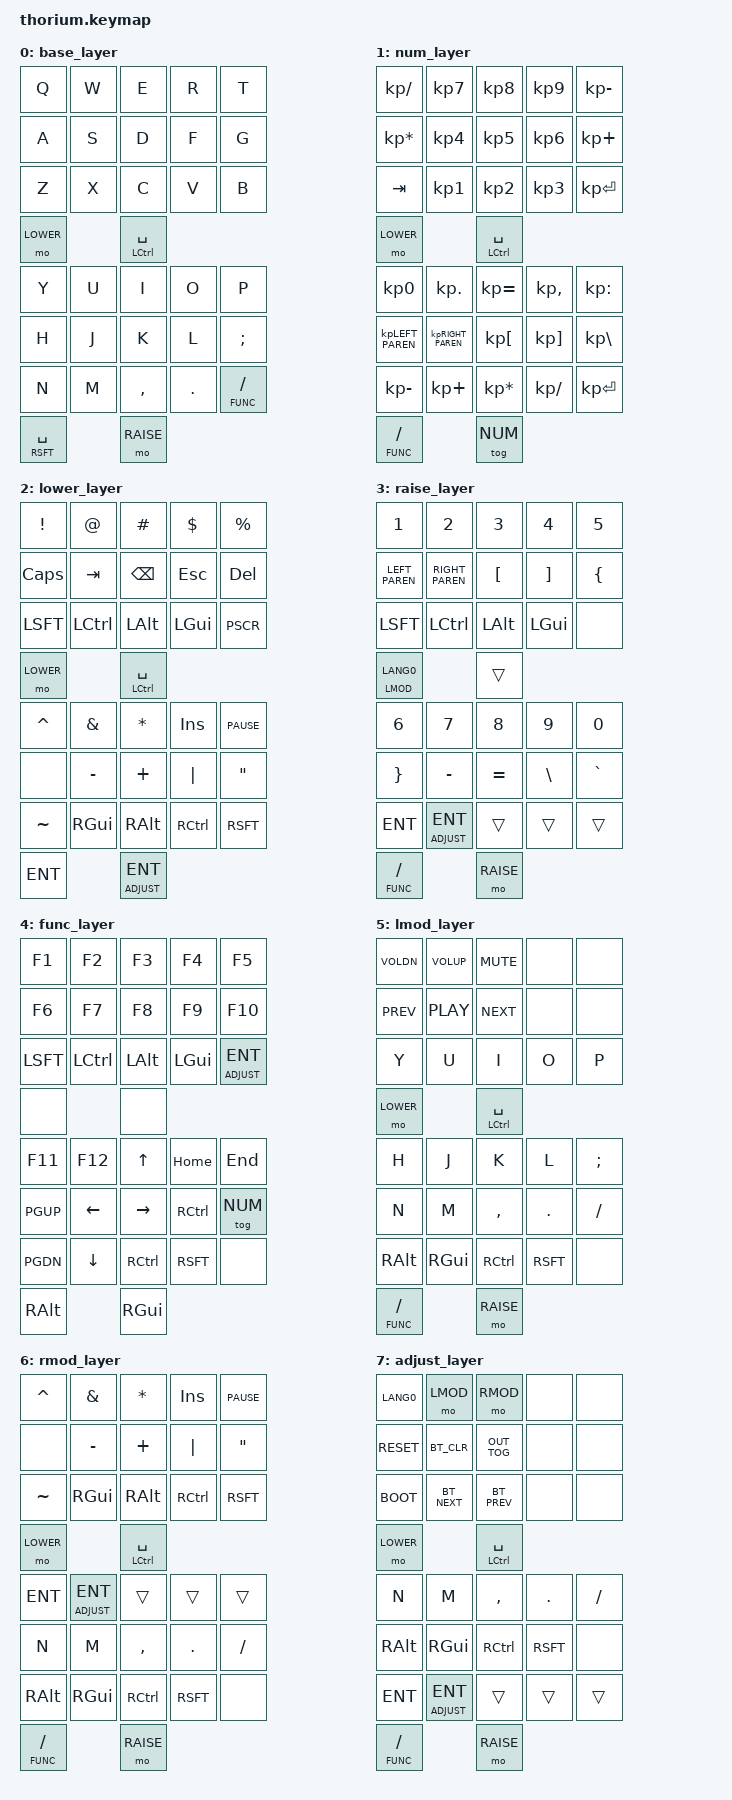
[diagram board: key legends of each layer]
/ {
    keymap {
        compatible = "zmk,keymap";

        base_layer {
            bindings = <
                // 左手
                &kp Q &kp W &kp E &kp R &kp T
                &kp A &kp S &kp D &kp F &kp G
                &kp Z &kp X &kp C &kp V &kp B
                &mo LOWER &mt LCTL SPC

                // 右手
                &kp Y &kp U &kp I &kp O &kp P
                &kp H &kp J &kp K &kp L &kp SEMI
                &kp N &kp M &kp COMMA &kp DOT &mt FUNC SLASH
                &mt RSFT SPC &mo RAISE
            >;
        };

        num_layer {
            bindings = <
                // 左手
                &kp KP_SLASH &kp KP_7 &kp KP_8 &kp KP_9 &kp KP_MINUS
                &kp KP_ASTERISK &kp KP_4 &kp KP_5 &kp KP_6 &kp KP_PLUS
                &kp TAB &kp KP_1 &kp KP_2 &kp KP_3 &kp KP_ENTER
                &mo LOWER &mt LCTL SPC

                // 右手
                &kp KP_0 &kp KP_DOT &kp KP_EQUAL &kp KP_COMMA &kp KP_COLON
                &kp KP_LEFT_PAREN &kp KP_RIGHT_PAREN &kp KP_LEFT_BRACKET &kp KP_RIGHT_BRACKET &kp KP_BSLH
                &kp KP_MINUS &kp KP_PLUS &kp KP_ASTERISK &kp KP_SLASH &kp KP_ENTER
                &mt FUNC SLASH &tog NUM
            >;
        };

        lower_layer {
            bindings = <
                // 左手
                &kp EXCL &kp AT &kp HASH &kp DOLLAR &kp PERCENT
                &kp CAPS &kp TAB &kp BSPC &kp ESC &kp DEL
                &kp LSFT &kp LCTL &kp LALT &kp LGUI &kp PSCR
                &mo LOWER &mt LCTL SPC

                // 右手
                &kp CARET &kp AMPERSAND &kp ASTERISK &kp INS &kp PAUSE
                &none &kp MINUS &kp PLUS &kp PIPE &kp DQT
                &kp TILDE &kp RGUI &kp RALT &kp RCTL &kp RSFT
                &kp ENT &mt ADJUST ENT
            >;
        };

        raise_layer {
            bindings = <
                // 左手
                &kp 1 &kp 2 &kp 3 &kp 4 &kp 5
                &kp LEFT_PAREN &kp RIGHT_PAREN &kp LEFT_BRACKET &kp RIGHT_BRACKET &kp LEFT_BRACE
                &kp LSFT &kp LCTL &kp LALT &kp LGUI &none
                &mt LMOD LANG0 &trans

                // 右手
                &kp 6 &kp 7 &kp 8 &kp 9 &kp 0
                &kp RIGHT_BRACE &kp MINUS &kp EQUAL &kp BSLH &kp GRAVE
                &kp ENT &mt ADJUST ENT &trans &trans &trans
                &mt FUNC SLASH &mo RAISE
            >;
        };

        func_layer {
            bindings = <
                // 左手
                &kp F1 &kp F2 &kp F3 &kp F4 &kp F5
                &kp F6 &kp F7 &kp F8 &kp F9 &kp F10
                &kp LSFT &kp LCTL &kp LALT &kp LGUI &mt ADJUST ENT
                &none &none

                // 右手
                &kp F11 &kp F12 &kp UP &kp HOME &kp END
                &kp PGUP &kp LEFT &kp RIGHT &kp RCTL &tog NUM
                &kp PGDN &kp DOWN &kp RCTL &kp RSFT &none
                &kp RALT &kp RGUI
            >;
        };

        lmod_layer {
            bindings = <
                // 左手
                &kp VOLDN &kp VOLUP &kp MUTE &none &none
                &kp PREV &kp PLAY &kp NEXT &none &none
                &kp Y &kp U &kp I &kp O &kp P
                &mo LOWER &mt LCTL SPC

                // 右手
                &kp H &kp J &kp K &kp L &kp SEMI
                &kp N &kp M &kp COMMA &kp DOT &kp SLASH
                &kp RALT &kp RGUI &kp RCTL &kp RSFT &none
                &mt FUNC SLASH &mo RAISE
            >;
        };

        rmod_layer {
            bindings = <
                // 左手
                &kp CARET &kp AMPERSAND &kp ASTERISK &kp INS &kp PAUSE
                &none &kp MINUS &kp PLUS &kp PIPE &kp DQT
                &kp TILDE &kp RGUI &kp RALT &kp RCTL &kp RSFT
                &mo LOWER &mt LCTL SPC

                // 右手
                &kp ENT &mt ADJUST ENT &trans &trans &trans
                &kp N &kp M &kp COMMA &kp DOT &kp SLASH
                &kp RALT &kp RGUI &kp RCTL &kp RSFT &none
                &mt FUNC SLASH &mo RAISE
            >;
        };

        adjust_layer {
            bindings = <
                // 左手
                &kp LANG0 &mo LMOD &mo RMOD &none &none
                &kp RESET &kp BT_CLR &kp OUT_TOG &none &none
                &kp BOOT &kp BT_NEXT &kp BT_PREV &none &none
                &mo LOWER &mt LCTL SPC

                // 右手
                &kp N &kp M &kp COMMA &kp DOT &kp SLASH
                &kp RALT &kp RGUI &kp RCTL &kp RSFT &none
                &kp ENT &mt ADJUST ENT &trans &trans &trans
                &mt FUNC SLASH &mo RAISE
            >;
        };
    };
};
